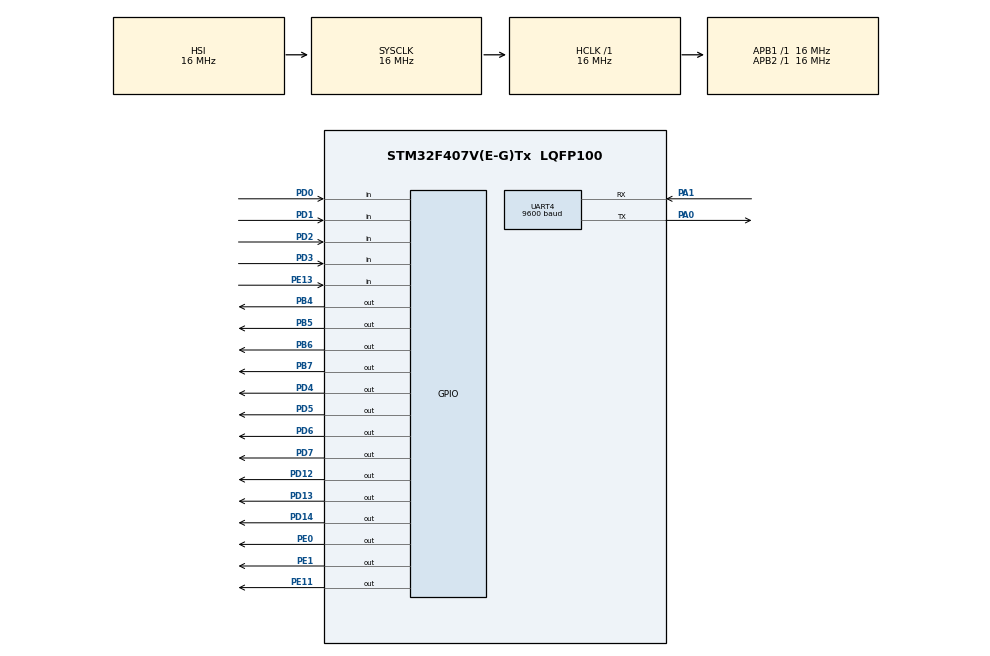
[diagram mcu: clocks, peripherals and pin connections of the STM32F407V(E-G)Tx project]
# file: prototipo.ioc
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FREERTOS.Tasks01=TskMeasurements,24,64,Tsk_Measurements,Default,NULL,Dynamic,NULL,NULL;TskSupervisor,8,64,Tsk_Supervisor,Default,NULL,Dynamic,NULL,NULL;TskEnvio,8,64,Tsk_Envio,Default,NULL,Dynamic,NULL,NULL
FREERTOS.configMINIMAL_STACK_SIZE=64
FREERTOS.configUSE_NEWLIB_REENTRANT=1
Mcu.Family=STM32F4
Mcu.Name=STM32F407V(E-G)Tx
Mcu.Package=LQFP100
NVIC.PriorityGroup=NVIC_PRIORITYGROUP_4
NVIC.TIM1_UP_TIM10_IRQn=true\:15\:0\:false\:false\:true\:false\:false\:true
NVIC.TimeBase=TIM1_UP_TIM10_IRQn
NVIC.TimeBaseIP=TIM1
PA0-WKUP.Mode=Asynchronous
PA0-WKUP.Signal=UART4_TX
PA1.Mode=Asynchronous
PA1.Signal=UART4_RX
PB4.Signal=GPIO_Output
PB5.Signal=GPIO_Output
PB6.Signal=GPIO_Output
PB7.Signal=GPIO_Output
PD0.Signal=GPIO_Input
PD1.Signal=GPIO_Input
PD12.Signal=GPIO_Output
PD13.Signal=GPIO_Output
PD14.Signal=GPIO_Output
PD2.Signal=GPIO_Input
PD3.Signal=GPIO_Input
PD4.Signal=GPIO_Output
PD5.Signal=GPIO_Output
PD6.Signal=GPIO_Output
PD7.Signal=GPIO_Output
PE0.Signal=GPIO_Output
PE1.Signal=GPIO_Output
PE11.Signal=GPIO_Output
PE13.Signal=GPIO_Input
ProjectManager.HeapSize=0x200
ProjectManager.StackSize=0x400
ProjectManager.TargetToolchain=STM32CubeIDE
RCC.AHBFreq_Value=16000000
RCC.APB1Freq_Value=16000000
RCC.APB1TimFreq_Value=16000000
RCC.APB2Freq_Value=16000000
RCC.APB2TimFreq_Value=16000000
RCC.CortexFreq_Value=16000000
RCC.HCLKFreq_Value=16000000
RCC.HSE_VALUE=25000000
RCC.HSI_VALUE=16000000
RCC.LSE_VALUE=32768
RCC.SYSCLKFreq_VALUE=16000000
RCC.VCOOutputFreq_Value=192000000
UART4.BaudRate=9600
UART4.VirtualMode=Asynchronous
VP_FREERTOS_VS_CMSIS_V2.Mode=CMSIS_V2
VP_SYS_VS_tim1.Mode=TIM1
board=custom

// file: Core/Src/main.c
/* USER CODE BEGIN Header */
/**
  ******************************************************************************
  * @file           : main.c
  * @brief          : Main program body
  ******************************************************************************
  * @attention
  *
  * <h2><center>&copy; Copyright (c) 2021 STMicroelectronics.
  * All rights reserved.</center></h2>
  *
  * This software component is licensed by ST under BSD 3-Clause license,
  * the "License"; You may not use this file except in compliance with the
  * License. You may obtain a copy of the License at:
  *                        opensource.org/licenses/BSD-3-Clause
  *
  ******************************************************************************
  */
/* USER CODE END Header */
#include "main.h"
#include "cmsis_os.h"
#include "usart.h"
#include "gpio.h"

/* USER CODE BEGIN Includes */
#include "HX711.h"
#include "globalVar.h"
#include "MY_Keypad4x4.h"
#include  "stdbool.h"
/* USER CODE END Includes */

bool switches[16];
/* USER CODE BEGIN PV */
osThreadId_t TskSinfoHandle;
const osThreadAttr_t TskSinfo_attributes = {
  .name = "TskSinfo",
  .stack_size = 64 * 4,
  .priority = (osPriority_t) osPriorityLow,
};
/* USER CODE END PV */

void SystemClock_Config(void);
void MX_FREERTOS_Init(void);
/* USER CODE BEGIN PFP */
//void TskSinfo(void *argument);

/* USER CODE END PFP */

int main(void)
{
  /* USER CODE BEGIN 1 */
	Keypad_WiresTypeDef myKeypadStruct;

  /* USER CODE END 1 */

  /* MCU Configuration--------------------------------------------------------*/

  /* Reset of all peripherals, Initializes the Flash interface and the Systick. */
  HAL_Init();

  /* Configure the system clock */
  SystemClock_Config();

  /* Initialize all configured peripherals */
  MX_GPIO_Init();
  MX_UART4_Init();
  /* USER CODE BEGIN 2 */

//  keypad_init();

  myKeypadStruct.IN0_Port = GPIOD;
  myKeypadStruct.IN1_Port = GPIOD;
  myKeypadStruct.IN2_Port = GPIOD;
  myKeypadStruct.IN3_Port = GPIOD;

  myKeypadStruct.OUT0_Port = GPIOD;
  myKeypadStruct.OUT1_Port = GPIOD;
  myKeypadStruct.OUT2_Port = GPIOD;
  myKeypadStruct.OUT3_Port = GPIOD;

  myKeypadStruct.IN0pin = GPIO_PIN_0;
  myKeypadStruct.IN1pin = GPIO_PIN_1;
  myKeypadStruct.IN2pin = GPIO_PIN_2;
  myKeypadStruct.IN3pin = GPIO_PIN_3;
  myKeypadStruct.OUT0pin = GPIO_PIN_4;
  myKeypadStruct.OUT1pin = GPIO_PIN_5;
  myKeypadStruct.OUT2pin = GPIO_PIN_6;
  myKeypadStruct.OUT3pin = GPIO_PIN_7;

  Keypad4x4_Init(&myKeypadStruct);
  LCD1602_Begin4BIT(GPIOE,GPIO_PIN_0,GPIO_PIN_1,GPIOB,GPIO_PIN_4,GPIO_PIN_5,GPIO_PIN_6,GPIO_PIN_7);

  //	HAL_Delay(1);
  /* USER CODE END 2 */

  /* Init scheduler */
  osKernelInitialize();  /* Call init function for freertos objects (in freertos.c) */
  MX_FREERTOS_Init();
  /* Start scheduler */
  osKernelStart();

  /* We should never get here as control is now taken by the scheduler */
  /* Infinite loop */
  /* USER CODE BEGIN WHILE */
  while (1)
  {
	/*  LCD1602_print("Presione 1 para peso en kg o 2 en lb ");
	  LCD1602_setCursor(2,1);
	  Keypad4x4_ReadKeypad(switches);
	  for(uint8_t i =0;i<16;i++){
		  if(switches[0]){
			  LCD1602_print(current_weight);
			  osDelay(2000);
		  }
		  else if(switches[1]){
			  LCD1602_print(current_weight_lb);
			  osDelay(2000);
		  }
		  else{
			  LCD1602_print("Presione 1 o 2");
			  osDelay(2000);
		  }
		  LCD1602_clear();
		  osDelay(100);

	  }*/
    /* USER CODE END WHILE */

  }
}

void SystemClock_Config(void)
{
  RCC_OscInitTypeDef RCC_OscInitStruct = {0};
  RCC_ClkInitTypeDef RCC_ClkInitStruct = {0};

  /** Configure the main internal regulator output voltage
  */
  __HAL_RCC_PWR_CLK_ENABLE();
  __HAL_PWR_VOLTAGESCALING_CONFIG(PWR_REGULATOR_VOLTAGE_SCALE1);
  /** Initializes the RCC Oscillators according to the specified parameters
  * in the RCC_OscInitTypeDef structure.
  */
  RCC_OscInitStruct.OscillatorType = RCC_OSCILLATORTYPE_HSI;
  RCC_OscInitStruct.HSIState = RCC_HSI_ON;
  RCC_OscInitStruct.HSICalibrationValue = RCC_HSICALIBRATION_DEFAULT;
  RCC_OscInitStruct.PLL.PLLState = RCC_PLL_NONE;
  if (HAL_RCC_OscConfig(&RCC_OscInitStruct) != HAL_OK)
  {
    Error_Handler();
  }
  /** Initializes the CPU, AHB and APB buses clocks
  */
  RCC_ClkInitStruct.ClockType = RCC_CLOCKTYPE_HCLK|RCC_CLOCKTYPE_SYSCLK
                              |RCC_CLOCKTYPE_PCLK1|RCC_CLOCKTYPE_PCLK2;
  RCC_ClkInitStruct.SYSCLKSource = RCC_SYSCLKSOURCE_HSI;
  RCC_ClkInitStruct.AHBCLKDivider = RCC_SYSCLK_DIV1;
  RCC_ClkInitStruct.APB1CLKDivider = RCC_HCLK_DIV1;
  RCC_ClkInitStruct.APB2CLKDivider = RCC_HCLK_DIV1;

  if (HAL_RCC_ClockConfig(&RCC_ClkInitStruct, FLASH_LATENCY_0) != HAL_OK)
  {
    Error_Handler();
  }
}

void HAL_TIM_PeriodElapsedCallback(TIM_HandleTypeDef *htim)
{
  if (htim->Instance == TIM1) {
    HAL_IncTick();
  }
}

void Error_Handler(void)
{
  __disable_irq();
  while (1)
  {
  }
}

/************************ (C) COPYRIGHT STMicroelectronics *****END OF FILE****/

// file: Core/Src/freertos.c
/* USER CODE BEGIN Header */
/**
  ******************************************************************************
  * File Name          : freertos.c
  * Description        : Code for freertos applications
  ******************************************************************************
  * @attention
  *
  * <h2><center>&copy; Copyright (c) 2021 STMicroelectronics.
  * All rights reserved.</center></h2>
  *
  * This software component is licensed by ST under Ultimate Liberty license
  * SLA0044, the "License"; You may not use this file except in compliance with
  * the License. You may obtain a copy of the License at:
  *                             www.st.com/SLA0044
  *
  ******************************************************************************
  */
/* USER CODE END Header */

#include "FreeRTOS.h"
#include "task.h"
#include "main.h"
#include "cmsis_os.h"

/* Definitions for TskMeasurements */
osThreadId_t TskMeasurementsHandle;
const osThreadAttr_t TskMeasurements_attributes = {
  .name = "TskMeasurements",
  .stack_size = 64 * 4,
  .priority = (osPriority_t) osPriorityNormal,
};
/* Definitions for TskSupervisor */
osThreadId_t TskSupervisorHandle;
const osThreadAttr_t TskSupervisor_attributes = {
  .name = "TskSupervisor",
  .stack_size = 64 * 4,
  .priority = (osPriority_t) osPriorityLow,
};
/* Definitions for TskEnvio */
osThreadId_t TskEnvioHandle;
const osThreadAttr_t TskEnvio_attributes = {
  .name = "TskEnvio",
  .stack_size = 64 * 4,
  .priority = (osPriority_t) osPriorityLow,
};

void Tsk_Measurements(void *argument);
void Tsk_Supervisor(void *argument);
void Tsk_Envio(void *argument);

void MX_FREERTOS_Init(void); /* (MISRA C 2004 rule 8.1) */

void MX_FREERTOS_Init(void) {

  /* Create the thread(s) */
  /* creation of TskMeasurements */
  TskMeasurementsHandle = osThreadNew(Tsk_Measurements, NULL, &TskMeasurements_attributes);

  /* creation of TskSupervisor */
  TskSupervisorHandle = osThreadNew(Tsk_Supervisor, NULL, &TskSupervisor_attributes);

  /* creation of TskEnvio */
  TskEnvioHandle = osThreadNew(Tsk_Envio, NULL, &TskEnvio_attributes);

}

  /* USER CODE END Tsk_Envio */

/************************ (C) COPYRIGHT STMicroelectronics *****END OF FILE****/
